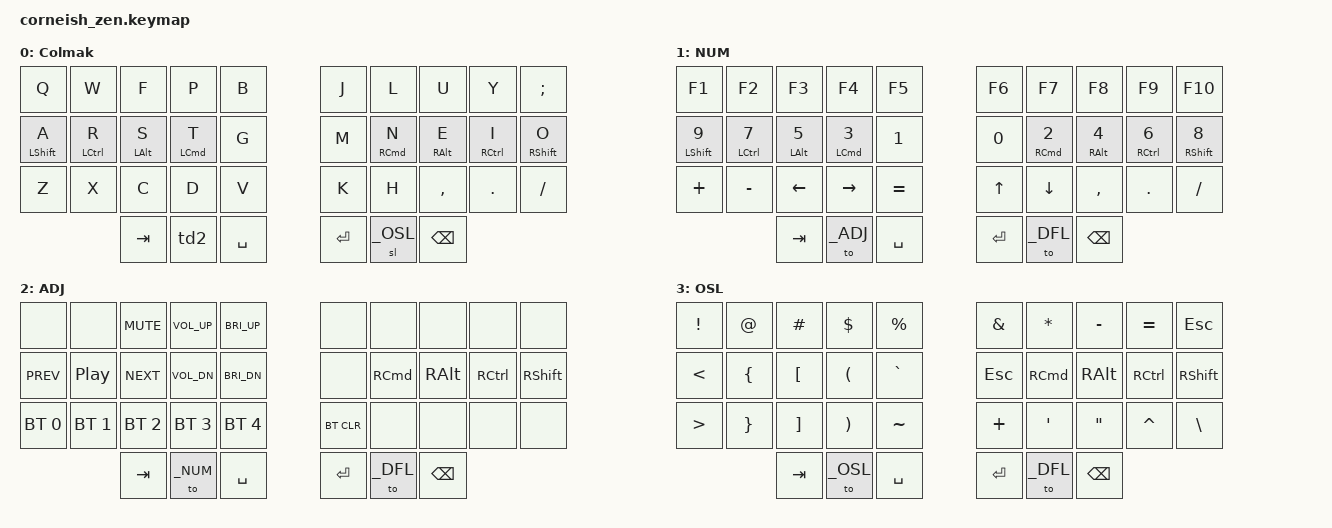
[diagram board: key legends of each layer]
#include <behaviors.dtsi>
#include <dt-bindings/zmk/keys.h>
#include <dt-bindings/zmk/bt.h>

#define _DFL 0
#define _NUM 1
#define _ADJ 2
#define _OSL 3

#define TAPPING_TERM 150
#define QUICK_TAP 200


/*
 Key index
 0  1  2  3  4         5  6  7  8  9
10 11 12 13 14        15 16 17 18 19
20 21 22 23 24        25 26 27 28 29
        30 31 32    33 34 35
*/

/*
/ {
    combos {
        compatible = "zmk,combos";
        // Umlauts; requires EUR keymap
        combo_uauml {
            timeout-ms = <50>;
            key-positions = <0 1>;
            bindings = <&kp RA(LS(A))>;
        };
        combo_uouml {
            timeout-ms = <50>;
            key-positions = <0 2>;
            bindings = <&kp RA(LS(O))>;
        };
        combo_uuuml {
            timeout-ms = <50>;
            key-positions = <0 3>;
            bindings = <&kp RA(LS(U))>;
        };
        combo_lauml {
            timeout-ms = <50>;
            key-positions = <20 21>;
            bindings = <&kp RA(A)>;
        };
        combo_louml {
            timeout-ms = <50>;
            key-positions = <20 22>;
            bindings = <&kp RA(O)>;
        };
        combo_luuml {
            timeout-ms = <50>;
            key-positions = <20 23>;
            bindings = <&kp RA(U)>;
        };
        combo_lsuml {
            timeout-ms = <50>;
            key-positions = <20 24>;
            bindings = <&kp RA(S)>;
        };
    };
};

*/

/*
/ {
    tapping-term-ms = <TAPPING_TERM>;
    quick-tap-ms = <QUICK_TAP>;
};

*/

/ {

  chosen {
    zmk,matrix_transform = &five_column_transform;
  };
};

/ {
  behaviors {
    hm: homerow_mods {
      compatible = "zmk,behavior-hold-tap";
      label = "HOMEROW_MODS";
      #binding-cells = <2>;
      tapping-term-ms = <200>;
      quick-tap-ms = <0>;
      flavor = "tap-preferred";
      bindings = <&kp>, <&kp>;
    };
    td0: tap_dance_0 {
      compatible = "zmk,behavior-tap-dance";
      label = "TAP_DANCE_0";
      #binding-cells = <0>;
      tapping-term-ms = <200>;
      bindings = <&hm RGUI SEMI>, <&kp SQT>;
    };
    td1: tap_dance_1 {
      compatible = "zmk,behavior-tap-dance";
      label = "TAP_DANCE_1";
      #binding-cells = <0>;
      tapping-term-ms = <200>;
      bindings = <&mt LCTRL TAB>, <&kp ESC>;
    };
    td2: tap_dance_2 {
      compatible = "zmk,behavior-tap-dance";
      label = "TAP_DANCE_2";
      #binding-cells = <0>;
      tapping-term-ms = <200>;
      bindings = <&sl _NUM>, <&to _NUM>;
    };
  };
};

/ {
  keymap {
            compatible = "zmk,keymap";
            default_layer {
                label = "Colmak";
// Homerow mod: shift, ctrl, alt, command
// ----------------------------------------------------------------------------------------
// |  Q  |  W  |  F  |  P  |  B   |	|  J   |  L   |  U   |  Y  |  ;  |
// |  A  |  R  |  S  |  T  |  G   |	|  M   |  N   |  E   |  I  |  O  |
// |  Z  |  X  |  C  |  D  |  V   |	|  K   |  H   |  ,   |  .  |  /  |
//             | TAB | _NUM| SPC  |	| RET  | _OSL | BSPC |
                bindings = <
   &kp Q          &kp W          &kp F          &kp P          &kp B        /**/   &kp J          &kp L          &kp U          &kp Y          &kp SEMI
   &hm LSHFT  A   &hm LCTRL R    &hm LALT S     &hm LCMD T     &kp G        /**/   &kp M          &hm RCMD N     &hm RALT E     &hm RCTRL I    &hm RSHFT O
   &kp Z          &kp X          &kp C          &kp D          &kp V        /**/   &kp K          &kp H          &kp COMMA      &kp DOT        &kp FSLH
                                 &kp TAB        &td2           &kp SPACE    /**/   &kp RET        &sl _OSL       &kp BSPC
                        >;
                };
		
            num_layer {
                label = "NUM";
// Homerow mod: shift, ctrl, alt, command
// -----------------------------------------------------------------------------------------
// |  F1  |  F2 |  F3   |  F4   |  F5   |     |  F6  |  F7  |  F8   | F9 | F10 |
// |  9   |  7  |  5    |  3    |  1    |     |  0   |  2   |  4    | 6  |  8  |
// |  +   | -   | LEFT  | RIGHT | EQUAL |     |  UP  | DOWN |  ,    | .  |  /  |
//              | TAB   | _ADJ   | SPC  |     |  RET | _DFL | BSPC |
                bindings = <
   &kp F1         &kp F2         &kp F3         &kp F4         &kp F5       /**/   &kp F6         &kp F7         &kp F8         &kp F9         &kp F10 
   &hm LSHFT N9   &hm LCTRL N7   &hm LALT N5    &hm LCMD N3    &kp N1       /**/   &kp N0         &hm RCMD N2    &hm RALT N4    &hm RCTRL N6   &hm RSHFT N8
   &kp PLUS       &kp MINUS      &kp LEFT       &kp RIGHT      &kp EQUAL    /**/   &kp UP         &kp DOWN       &kp COMMA      &kp DOT        &kp FSLH
               	                 &kp TAB        &to _ADJ       &kp SPACE    /**/   &kp RET        &to _DFL       &kp BSPC
                        >;
                };

            func_layer {
                label = "ADJ";
// -----------------------------------------------------------------------------------------
// |     |      | Mute | V_Up  | S_Up |     |        |      |      |       |       |
// | Back| Play | Frwd | V_Dn  | S_Dn |     |        | RCMD | RALT | RCTRL | RSHFT |
// | BT0 | BT1  | BT2  | BT3   | BT4  |     |  BTCLR |      |      |       |       |
//              | TAB  | _NUM  | SPC  |	    |  RET   | _DFL | BSPC |
                bindings = <
   &none          &none          &kp C_MUTE     &kp C_VOL_UP   &kp C_BRI_UP /**/  &none          &none          &none          &none          &none
   &kp C_PREV     &kp C_PP       &kp C_NEXT     &kp C_VOL_DN   &kp C_BRI_DN /**/  &none          &kp RCMD       &kp RALT       &kp RCTRL      &kp RSHIFT
   &bt BT_SEL 0   &bt BT_SEL 1   &bt BT_SEL 2   &bt BT_SEL 3   &bt BT_SEL 4 /**/  &bt BT_CLR     &none          &none          &none          &none
                    	         &kp TAB        &to _NUM       &kp SPACE    /**/  &kp RET        &to _DFL       &kp BSPC
                        >;
                };
		
            osl_layer {
                 label = "OSL";
// -----------------------------------------------------------------------------------------
// |  !  |  @   |  #  |  $  |  %    |       |  &    | *    |  -   |   =   | ESC   |
// |  <  |  {   |  [  |  (  |  `    |       |  ESC  | RCMD | RALT | RCTRL | RSHFT |
// |  >  |  }   |  ]  |  )  |  ~    |       |  +    |  '   |  "   |   ^   |   \   |
//              | TAB | _NUM|  SPC  |	    |  RET  | _DFL | BSPC |
                 bindings = <
   &kp EXCL      &kp AT         &kp HASH        &kp DLLR       &kp PRCNT    /**/   &kp AMPS       &kp ASTRK      &kp MINUS      &kp EQUAL      &kp ESC
   &kp LT        &kp LBRC       &kp LBKT        &kp LPAR       &kp GRAVE    /**/   &kp ESC        &kp RCMD       &kp RALT       &kp RCTRL      &kp RSHIFT
   &kp GT        &kp RBRC       &kp RBKT        &kp RPAR       &kp TILDE    /**/   &kp PLUS       &kp SQT        &kp DQT        &kp CARET      &kp BSLH
                    	        &kp TAB         &to _OSL       &kp SPACE    /**/   &kp RET        &to _DFL       &kp BSPC
                        >;
                };

        };
};
